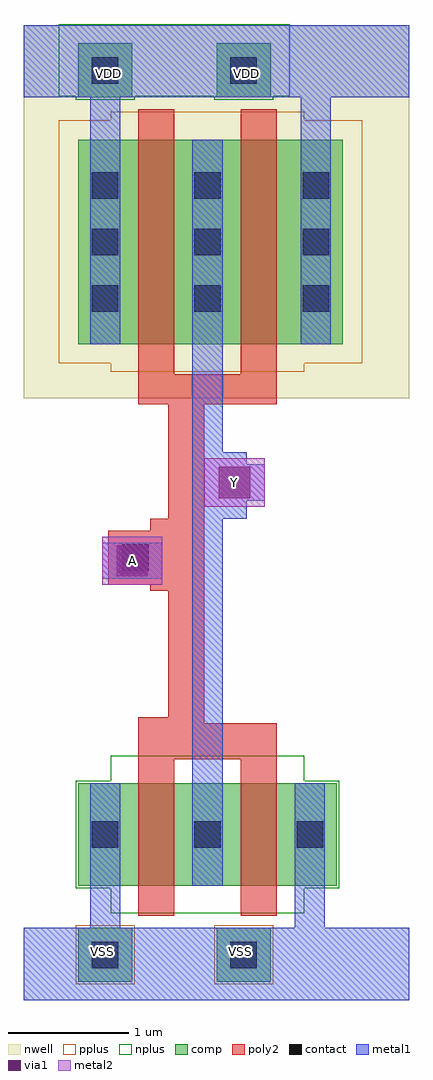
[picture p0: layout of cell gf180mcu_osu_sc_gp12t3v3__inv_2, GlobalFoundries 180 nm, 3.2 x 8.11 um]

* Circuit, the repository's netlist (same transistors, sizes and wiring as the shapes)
* Copyright 2022 Google LLC
*
* Licensed under the Apache License, Version 2.0 (the "License");
* you may not use this file except in compliance with the License.
* You may obtain a copy of the License at
*
*      http://www.apache.org/licenses/LICENSE-2.0
*
* Unless required by applicable law or agreed to in writing, software
* distributed under the License is distributed on an "AS IS" BASIS,
* WITHOUT WARRANTIES OR CONDITIONS OF ANY KIND, either express or implied.
* See the License for the specific language governing permissions and
* limitations under the License.

.inc "/import/yukari1/lrburle/OSU_180/char/techfiles/design.hspice"
.lib "/import/yukari1/lrburle/OSU_180/char/techfiles/sm141064.hspice" typical

.GLOBAL VDD
.GLOBAL VSS

.option scale=0.05u

.subckt gf180mcu_osu_sc_gp12t3v3__inv_2 A Y
X0 VDD A Y VDD pmos_3p3 w=34 l=6
X1 Y A VDD VDD pmos_3p3 w=34 l=6
X2 Y A VSS VSS nmos_3p3 w=17 l=6
X3 VSS A Y VSS nmos_3p3 w=17 l=6
.ends

** hspice subcircuit dictionary

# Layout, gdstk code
import gdstk
lib = gdstk.Library(unit=1e-6, precision=1e-09)
def R(c, l, rs):  # rectangles x0, y0, x1, y1
    for r in rs: c.add(gdstk.rectangle(r[:2], r[2:], *l))
def A(c, l, x, y, w, h, nx, ny, dx, dy):  # array of equal rectangles
    R(c, l, [(x+i*dx, y+j*dy, x+i*dx+w, y+j*dy+h) for i in range(nx) for j in range(ny)])
nwell = (21, 0)
comp = (22, 0)
poly2 = (30, 0)
pplus = (31, 0)
nplus = (32, 0)
contact = (33, 0)
metal1 = (34, 0)
via1 = (35, 0)
metal2 = (36, 0)

gf180mcu_osu_sc_gp12t3v3 = lib.new_cell('gf180mcu_osu_sc_gp12t3v3__inv_2')
R(gf180mcu_osu_sc_gp12t3v3, nwell, [(0,5,3.2,8.1)])
R(gf180mcu_osu_sc_gp12t3v3, comp, [(0.45,0.15,0.9,0.6), (1.6,0.15,2.05,0.6), (0.45,0.95,2.6,1.8), (0.45,5.45,2.65,7.15), (0.45,7.5,0.9,7.95), (1.6,7.5,2.05,7.95)])
R(gf180mcu_osu_sc_gp12t3v3, poly2, [(0.95,0.7,1.25,2), (1.8,0.7,2.1,2), (0.95,2,2.1,2.3), (0.95,2.3,1.5,2.35), (1.2,2.35,1.5,3.4), (1.05,3.4,1.5,3.45), (0.7,3.45,1.5,3.9), (1.05,3.9,1.5,4), (1.2,4,1.5,4.95), (0.95,4.95,2.1,5.2), (0.95,5.2,1.25,7.4), (1.8,5.2,2.1,7.4)])
R(gf180mcu_osu_sc_gp12t3v3, pplus, [(0.43,0.13,0.92,0.62), (1.58,0.13,2.07,0.62), (0.72,5.22,2.33,5.29), (0.29,5.29,2.81,7.31), (0.72,7.31,2.33,7.38)])
R(gf180mcu_osu_sc_gp12t3v3, nplus, [(0.72,0.72,2.33,0.93), (0.43,0.93,2.62,1.82), (0.72,1.82,2.33,2.03), (0.43,7.48,0.92,7.51), (1.58,7.48,2.07,7.51), (0.29,7.51,2.21,8.11)])
A(gf180mcu_osu_sc_gp12t3v3, contact, 0.565, 1.265, 0.22, 0.22, 3, 1, 0.85, 0)
A(gf180mcu_osu_sc_gp12t3v3, contact, 0.565, 5.72, 0.22, 0.22, 1, 3, 0, 0.47)
A(gf180mcu_osu_sc_gp12t3v3, contact, 1.415, 5.72, 0.22, 0.22, 1, 3, 0, 0.47)
A(gf180mcu_osu_sc_gp12t3v3, contact, 2.315, 5.72, 0.22, 0.22, 1, 3, 0, 0.47)
R(gf180mcu_osu_sc_gp12t3v3, contact, [(0.565,0.265,0.785,0.485), (1.715,0.265,1.935,0.485), (0.815,3.565,1.035,3.785), (0.565,7.615,0.785,7.835), (1.715,7.615,1.935,7.835)])
R(gf180mcu_osu_sc_gp12t3v3, metal1, [(0,0,3.2,0.6), (0.55,0.6,0.8,1.8), (2.25,0.6,2.5,1.8), (1.4,0.95,1.65,4), (0.65,3.5,1.15,3.8), (1.4,4,1.85,4.15), (1.4,4.15,2,4.45), (1.4,4.45,1.85,4.55), (1.4,4.55,1.65,7.15), (0.55,5.45,0.8,7.5), (2.3,5.45,2.55,7.5), (0,7.5,3.2,8.1)])
R(gf180mcu_osu_sc_gp12t3v3, via1, [(0.77,3.52,1.03,3.78), (1.62,4.17,1.88,4.43)])
R(gf180mcu_osu_sc_gp12t3v3, metal2, [(0.65,3.45,1.15,3.85), (1.5,4.1,2,4.5)])
gf180mcu_osu_sc_gp12t3v3.add(gdstk.Label('VDD', (0.7,7.7), layer=34, texttype=0))
gf180mcu_osu_sc_gp12t3v3.add(gdstk.Label('VSS', (0.65,0.4), layer=34, texttype=0))
gf180mcu_osu_sc_gp12t3v3.add(gdstk.Label('VSS', (1.8,0.4), layer=34, texttype=0))
gf180mcu_osu_sc_gp12t3v3.add(gdstk.Label('VDD', (1.85,7.7), layer=34, texttype=0))
gf180mcu_osu_sc_gp12t3v3.add(gdstk.Label('A', (0.9,3.65), layer=36, texttype=10))
gf180mcu_osu_sc_gp12t3v3.add(gdstk.Label('Y', (1.75,4.3), layer=36, texttype=10))

lib.write_gds('gf180mcu_osu_sc_gp12t3v3__inv_2.gds')
